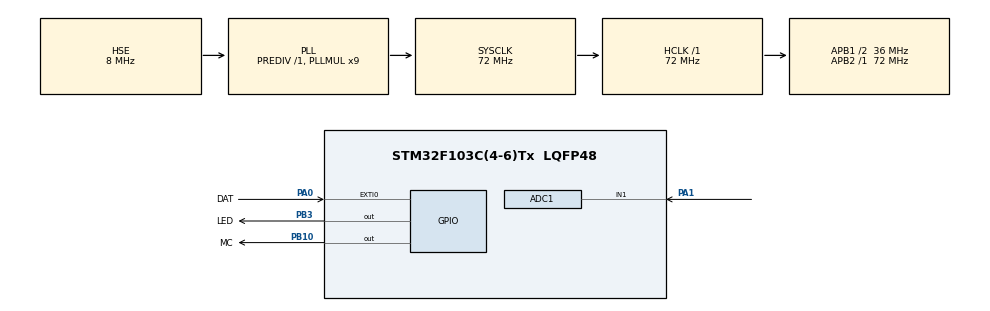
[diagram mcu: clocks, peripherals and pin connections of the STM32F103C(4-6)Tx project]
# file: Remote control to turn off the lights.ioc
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ADC1.Channel-1\#ChannelRegularConversion=ADC_CHANNEL_1
ADC1.EnableAnalogWatchDog=false
ADC1.NbrOfConversionFlag=1
ADC1.Rank-1\#ChannelRegularConversion=1
ADC1.SamplingTime-1\#ChannelRegularConversion=ADC_SAMPLETIME_1CYCLE_5
ADC1.master=1
Mcu.Family=STM32F1
Mcu.Name=STM32F103C(4-6)Tx
Mcu.Package=LQFP48
NVIC.EXTI0_IRQn=true\:0\:0\:false\:false\:true\:true\:true\:true
NVIC.PriorityGroup=NVIC_PRIORITYGROUP_4
NVIC.TIM1_UP_IRQn=true\:0\:0\:false\:false\:true\:true\:true\:true
NVIC.TIM2_IRQn=true\:4\:0\:true\:false\:true\:true\:true\:true
NVIC.TIM3_IRQn=true\:7\:0\:true\:false\:true\:true\:true\:true
PA0-WKUP.GPIO_Label=DAT
PA0-WKUP.GPIO_ModeDefaultEXTI=GPIO_MODE_IT_FALLING
PA0-WKUP.GPIO_PuPd=GPIO_PULLUP
PA0-WKUP.Signal=GPXTI0
PA1.Signal=SharedAnalog_PA1
PA13.Mode=Serial_Wire
PA13.Signal=SYS_JTMS-SWDIO
PA14.Mode=Serial_Wire
PA14.Signal=SYS_JTCK-SWCLK
PB10.GPIO_Label=MC
PB10.GPIO_ModeDefaultOutputPP=GPIO_MODE_OUTPUT_OD
PB10.GPIO_PuPd=GPIO_NOPULL
PB10.GPIO_Speed=GPIO_SPEED_FREQ_HIGH
PB10.PinState=GPIO_PIN_SET
PB10.Signal=GPIO_Output
PB3.GPIO_Label=LED
PB3.Signal=GPIO_Output
PD0-OSC_IN.Mode=HSE-External-Oscillator
PD0-OSC_IN.Signal=RCC_OSC_IN
PD1-OSC_OUT.Mode=HSE-External-Oscillator
PD1-OSC_OUT.Signal=RCC_OSC_OUT
ProjectManager.HeapSize=0x200
ProjectManager.StackSize=0x400
ProjectManager.TargetToolchain=MDK-ARM V5.32
RCC.ADCPresc=RCC_ADCPCLK2_DIV6
RCC.AHBFreq_Value=72000000
RCC.APB1CLKDivider=RCC_HCLK_DIV2
RCC.APB1Freq_Value=36000000
RCC.APB1TimFreq_Value=72000000
RCC.APB2Freq_Value=72000000
RCC.APB2TimFreq_Value=72000000
RCC.HCLKFreq_Value=72000000
RCC.PLLMUL=RCC_PLL_MUL9
RCC.PLLSourceVirtual=RCC_PLLSOURCE_HSE
RCC.SYSCLKFreq_VALUE=72000000
RCC.SYSCLKSource=RCC_SYSCLKSOURCE_PLLCLK
RCC.USBFreq_Value=72000000
SH.SharedAnalog_PA1.0=GPIO_Analog
SH.SharedAnalog_PA1.1=ADC1_IN1,IN1
TIM1.Prescaler=72-1
TIM2.Period=20
TIM2.Prescaler=72-1
TIM3.Period=10000
TIM3.Prescaler=7200-1
VP_TIM1_VS_ClockSourceINT.Mode=Internal
VP_TIM2_VS_ClockSourceINT.Mode=Internal
VP_TIM3_VS_ClockSourceINT.Mode=Internal
board=custom

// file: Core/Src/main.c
/* USER CODE BEGIN Header */
/**
 ******************************************************************************
 * @file           : main.c
 * @brief          : Main program body
 ******************************************************************************
 * @attention
 *
 * Copyright (c) 2022 STMicroelectronics.
 * All rights reserved.
 *
 * This software is licensed under terms that can be found in the LICENSE file
 * in the root directory of this software component.
 * If no LICENSE file comes with this software, it is provided AS-IS.
 *
 ******************************************************************************
 */
/* USER CODE END Header */
#include "main.h"

/* USER CODE BEGIN Includes */
#include "IR_NEC.h"
#include "Steering_Engine.h"
/* USER CODE END Includes */

ADC_HandleTypeDef hadc1;

TIM_HandleTypeDef htim1;
TIM_HandleTypeDef htim2;
TIM_HandleTypeDef htim3;

void SystemClock_Config(void);
static void MX_GPIO_Init(void);
static void MX_TIM3_Init(void);
static void MX_TIM1_Init(void);
static void MX_TIM2_Init(void);
static void MX_ADC1_Init(void);
/* USER CODE BEGIN PFP */
void enter_stop_mode(void);
void exit_stop_mode(void);
/* USER CODE END PFP */

/* USER CODE BEGIN 0 */
void OPEN()
{
  Steering_Engine_360(0, 30);
  HAL_Delay(400);
  Steering_Engine_360(1, 50);
  HAL_Delay(100);
  Steering_Engine_Stop();
  HAL_Delay(2000);
}
void CLOSE()
{
  Steering_Engine_360(1, 30);
  HAL_Delay(400);
  Steering_Engine_360(0, 50);
  HAL_Delay(180);
  Steering_Engine_Stop();
  HAL_Delay(2000);
}
u8 LED_Ctl = 0;
u8 STOP_Ctl = 0;
void INIT_LED()
{

  if (LED_Ctl % 2)
  {
    HAL_GPIO_WritePin(LED_GPIO_Port, LED_Pin, GPIO_PIN_RESET);
  }
  else
  {
    HAL_GPIO_WritePin(LED_GPIO_Port, LED_Pin, GPIO_PIN_SET);
  }
  LED_Ctl++;
}
uint8_t ADC_ins = 0;
void Voltage_detection()
{
  uint16_t V = 0;
  //寮?鍚疉DC1
  HAL_ADC_Start(&hadc1);
  //绛夊緟ADC杞?鎹㈠畬鎴愶紝瓒呮椂涓?100ms
  HAL_ADC_PollForConversion(&hadc1, 100);
  //鍒ゆ柇ADC鏄?鍚﹁浆鎹㈡垚鍔?
  if (HAL_IS_BIT_SET(HAL_ADC_GetState(&hadc1), HAL_ADC_STATE_REG_EOC))
  {
    //璇诲彇鍊?
    V = HAL_ADC_GetValue(&hadc1);
    if (V < 2600)
    {
      HAL_Delay(100);
      HAL_ADC_PollForConversion(&hadc1, 100);
      if (HAL_IS_BIT_SET(HAL_ADC_GetState(&hadc1), HAL_ADC_STATE_REG_EOC))
      {
        V = HAL_ADC_GetValue(&hadc1);
        if (V < 2600)
        {
          HAL_Delay(100);
          HAL_ADC_PollForConversion(&hadc1, 100);
          if (HAL_IS_BIT_SET(HAL_ADC_GetState(&hadc1), HAL_ADC_STATE_REG_EOC))
          {
            V = HAL_ADC_GetValue(&hadc1);
            if (V < 2600)
            {
              // LED_Ctl = 0;
              STOP_Ctl = 0;
              HAL_GPIO_WritePin(LED_GPIO_Port, LED_Pin, GPIO_PIN_SET);
            }
          }
        }
      }
    }
    else
    {
      HAL_GPIO_WritePin(LED_GPIO_Port, LED_Pin, GPIO_PIN_RESET);
    }
  }
  HAL_ADC_Stop(&hadc1);
}
void HAL_TIM_PeriodElapsedCallback(TIM_HandleTypeDef *htim)
{
  if (htim == &Steering_Engine_TIM)
  {
    Steering_Engine_Action();
  }
  else if (htim == &htim3)
  {
    if (LED_Ctl < 6)
    {
      INIT_LED();
    }
    else
    {
      STOP_Ctl++;
      Voltage_detection();
    }

    if (STOP_Ctl >= 6)
    {
      STOP_Ctl = 0;
      HAL_GPIO_WritePin(LED_GPIO_Port, LED_Pin, GPIO_PIN_RESET);
      enter_stop_mode();
      exit_stop_mode();
    }
    IR_NEC_Read_Dat[0] = 0;
    IR_NEC_Read_Dat[1] = 0;
    IR_NEC_Read_Dat[2] = 0;
    IR_NEC_Read_Dat[3] = 0;
  }
}
void enter_stop_mode(void)
{
  __HAL_PWR_CLEAR_FLAG(PWR_FLAG_WU);

  // 杩涘叆STOP妯″紡
  HAL_PWR_EnterSTOPMode(PWR_LOWPOWERREGULATOR_ON, PWR_STOPENTRY_WFI);
}
void exit_stop_mode(void)
{
  HAL_Init();
  SystemClock_Config();
  MX_GPIO_Init();
  MX_TIM3_Init();
  MX_TIM1_Init();
  MX_TIM2_Init();
  MX_ADC1_Init();
}
void HAL_GPIO_EXTI_Callback(uint16_t GPIO_Pin)
{
  if (GPIO_Pin == GPIO_PIN_0)
  {
    IR_NEC_Read_Decode(air);
    STOP_Ctl = 0;
    HAL_GPIO_WritePin(LED_GPIO_Port, LED_Pin, GPIO_PIN_SET);
  }
}
/* USER CODE END 0 */

int main(void)
{
  /* USER CODE BEGIN 1 */
  uint8_t a = 0;
  /* USER CODE END 1 */

  /* MCU Configuration--------------------------------------------------------*/

  /* Reset of all peripherals, Initializes the Flash interface and the Systick. */
  HAL_Init();

  /* Configure the system clock */
  SystemClock_Config();

  /* Initialize all configured peripherals */
  MX_GPIO_Init();
  MX_TIM3_Init();
  MX_TIM1_Init();
  MX_TIM2_Init();
  MX_ADC1_Init();
  /* USER CODE BEGIN 2 */
  HAL_GPIO_WritePin(LED_GPIO_Port, LED_Pin, GPIO_PIN_SET);
  /* USER CODE END 2 */

  /* Infinite loop */
  while (1)
  {

    /* USER CODE BEGIN 3 */
    if (IR_NEC_Read_OK)
    {
      IR_NEC_Read_OK = 0;
      if (IR_NEC_Read_Dat[0] == 0x4D && IR_NEC_Read_Dat[1] == 0xB2 && IR_NEC_Read_Dat[2] == 0xA3 && IR_NEC_Read_Dat[3] == 0x5C)
      {
        OPEN();
      }
      else if (IR_NEC_Read_Dat[0] == 0x4D && IR_NEC_Read_Dat[1] == 0xB2 && IR_NEC_Read_Dat[2] == 0x59 && IR_NEC_Read_Dat[3] == 0xA6)
      {
        CLOSE();
      }

      if (IR_NEC_Read_Dat[0] == 0x84 && IR_NEC_Read_Dat[1] == 0xff && IR_NEC_Read_Dat[2] == 0x81 && IR_NEC_Read_Dat[3] == 0x7e)
      {
        OPEN();
      }
      else if (IR_NEC_Read_Dat[0] == 0x84 && IR_NEC_Read_Dat[1] == 0xff && IR_NEC_Read_Dat[2] == 0x01 && IR_NEC_Read_Dat[3] == 0xfe)
      {
        CLOSE();
      }
      a++;
      IR_NEC_Read_OK = 0;
    }
    if (a >= 20)
    {
      a = 0;
      __set_FAULTMASK(1); // STM32??????
      NVIC_SystemReset();
    }
  }

  /* USER CODE END 3 */
}

void SystemClock_Config(void)
{
  RCC_OscInitTypeDef RCC_OscInitStruct = {0};
  RCC_ClkInitTypeDef RCC_ClkInitStruct = {0};
  RCC_PeriphCLKInitTypeDef PeriphClkInit = {0};

  /** Initializes the RCC Oscillators according to the specified parameters
   * in the RCC_OscInitTypeDef structure.
   */
  RCC_OscInitStruct.OscillatorType = RCC_OSCILLATORTYPE_HSE;
  RCC_OscInitStruct.HSEState = RCC_HSE_ON;
  RCC_OscInitStruct.HSEPredivValue = RCC_HSE_PREDIV_DIV1;
  RCC_OscInitStruct.HSIState = RCC_HSI_ON;
  RCC_OscInitStruct.PLL.PLLState = RCC_PLL_ON;
  RCC_OscInitStruct.PLL.PLLSource = RCC_PLLSOURCE_HSE;
  RCC_OscInitStruct.PLL.PLLMUL = RCC_PLL_MUL9;
  if (HAL_RCC_OscConfig(&RCC_OscInitStruct) != HAL_OK)
  {
    Error_Handler();
  }

  /** Initializes the CPU, AHB and APB buses clocks
   */
  RCC_ClkInitStruct.ClockType = RCC_CLOCKTYPE_HCLK | RCC_CLOCKTYPE_SYSCLK | RCC_CLOCKTYPE_PCLK1 | RCC_CLOCKTYPE_PCLK2;
  RCC_ClkInitStruct.SYSCLKSource = RCC_SYSCLKSOURCE_PLLCLK;
  RCC_ClkInitStruct.AHBCLKDivider = RCC_SYSCLK_DIV1;
  RCC_ClkInitStruct.APB1CLKDivider = RCC_HCLK_DIV2;
  RCC_ClkInitStruct.APB2CLKDivider = RCC_HCLK_DIV1;

  if (HAL_RCC_ClockConfig(&RCC_ClkInitStruct, FLASH_LATENCY_2) != HAL_OK)
  {
    Error_Handler();
  }
  PeriphClkInit.PeriphClockSelection = RCC_PERIPHCLK_ADC;
  PeriphClkInit.AdcClockSelection = RCC_ADCPCLK2_DIV6;
  if (HAL_RCCEx_PeriphCLKConfig(&PeriphClkInit) != HAL_OK)
  {
    Error_Handler();
  }
}

static void MX_ADC1_Init(void)
{

  ADC_ChannelConfTypeDef sConfig = {0};

  /** Common config
   */
  hadc1.Instance = ADC1;
  hadc1.Init.ScanConvMode = ADC_SCAN_DISABLE;
  hadc1.Init.ContinuousConvMode = DISABLE;
  hadc1.Init.DiscontinuousConvMode = DISABLE;
  hadc1.Init.ExternalTrigConv = ADC_SOFTWARE_START;
  hadc1.Init.DataAlign = ADC_DATAALIGN_RIGHT;
  hadc1.Init.NbrOfConversion = 1;
  if (HAL_ADC_Init(&hadc1) != HAL_OK)
  {
    Error_Handler();
  }

  /** Configure Regular Channel
   */
  sConfig.Channel = ADC_CHANNEL_1;
  sConfig.Rank = ADC_REGULAR_RANK_1;
  sConfig.SamplingTime = ADC_SAMPLETIME_1CYCLE_5;
  if (HAL_ADC_ConfigChannel(&hadc1, &sConfig) != HAL_OK)
  {
    Error_Handler();
  }
}

static void MX_TIM1_Init(void)
{

  TIM_ClockConfigTypeDef sClockSourceConfig = {0};
  TIM_MasterConfigTypeDef sMasterConfig = {0};

  htim1.Instance = TIM1;
  htim1.Init.Prescaler = 72 - 1;
  htim1.Init.CounterMode = TIM_COUNTERMODE_UP;
  htim1.Init.Period = 65535;
  htim1.Init.ClockDivision = TIM_CLOCKDIVISION_DIV1;
  htim1.Init.RepetitionCounter = 0;
  htim1.Init.AutoReloadPreload = TIM_AUTORELOAD_PRELOAD_DISABLE;
  if (HAL_TIM_Base_Init(&htim1) != HAL_OK)
  {
    Error_Handler();
  }
  sClockSourceConfig.ClockSource = TIM_CLOCKSOURCE_INTERNAL;
  if (HAL_TIM_ConfigClockSource(&htim1, &sClockSourceConfig) != HAL_OK)
  {
    Error_Handler();
  }
  sMasterConfig.MasterOutputTrigger = TIM_TRGO_RESET;
  sMasterConfig.MasterSlaveMode = TIM_MASTERSLAVEMODE_DISABLE;
  if (HAL_TIMEx_MasterConfigSynchronization(&htim1, &sMasterConfig) != HAL_OK)
  {
    Error_Handler();
  }
}

static void MX_TIM2_Init(void)
{

  TIM_ClockConfigTypeDef sClockSourceConfig = {0};
  TIM_MasterConfigTypeDef sMasterConfig = {0};

  htim2.Instance = TIM2;
  htim2.Init.Prescaler = 72 - 1;
  htim2.Init.CounterMode = TIM_COUNTERMODE_UP;
  htim2.Init.Period = 20;
  htim2.Init.ClockDivision = TIM_CLOCKDIVISION_DIV1;
  htim2.Init.AutoReloadPreload = TIM_AUTORELOAD_PRELOAD_DISABLE;
  if (HAL_TIM_Base_Init(&htim2) != HAL_OK)
  {
    Error_Handler();
  }
  sClockSourceConfig.ClockSource = TIM_CLOCKSOURCE_INTERNAL;
  if (HAL_TIM_ConfigClockSource(&htim2, &sClockSourceConfig) != HAL_OK)
  {
    Error_Handler();
  }
  sMasterConfig.MasterOutputTrigger = TIM_TRGO_RESET;
  sMasterConfig.MasterSlaveMode = TIM_MASTERSLAVEMODE_DISABLE;
  if (HAL_TIMEx_MasterConfigSynchronization(&htim2, &sMasterConfig) != HAL_OK)
  {
    Error_Handler();
  }
  /* USER CODE BEGIN TIM2_Init 2 */
  HAL_TIM_Base_Start_IT(&htim2);
  /* USER CODE END TIM2_Init 2 */
}

static void MX_TIM3_Init(void)
{

  TIM_ClockConfigTypeDef sClockSourceConfig = {0};
  TIM_MasterConfigTypeDef sMasterConfig = {0};

  htim3.Instance = TIM3;
  htim3.Init.Prescaler = 7200 - 1;
  htim3.Init.CounterMode = TIM_COUNTERMODE_UP;
  htim3.Init.Period = 10000;
  htim3.Init.ClockDivision = TIM_CLOCKDIVISION_DIV1;
  htim3.Init.AutoReloadPreload = TIM_AUTORELOAD_PRELOAD_DISABLE;
  if (HAL_TIM_Base_Init(&htim3) != HAL_OK)
  {
    Error_Handler();
  }
  sClockSourceConfig.ClockSource = TIM_CLOCKSOURCE_INTERNAL;
  if (HAL_TIM_ConfigClockSource(&htim3, &sClockSourceConfig) != HAL_OK)
  {
    Error_Handler();
  }
  sMasterConfig.MasterOutputTrigger = TIM_TRGO_RESET;
  sMasterConfig.MasterSlaveMode = TIM_MASTERSLAVEMODE_DISABLE;
  if (HAL_TIMEx_MasterConfigSynchronization(&htim3, &sMasterConfig) != HAL_OK)
  {
    Error_Handler();
  }
  /* USER CODE BEGIN TIM3_Init 2 */
  HAL_TIM_Base_Start_IT(&htim3);
  /* USER CODE END TIM3_Init 2 */
}

static void MX_GPIO_Init(void)
{
  GPIO_InitTypeDef GPIO_InitStruct = {0};

  /* GPIO Ports Clock Enable */
  __HAL_RCC_GPIOC_CLK_ENABLE();
  __HAL_RCC_GPIOD_CLK_ENABLE();
  __HAL_RCC_GPIOA_CLK_ENABLE();
  __HAL_RCC_GPIOB_CLK_ENABLE();

  /*Configure GPIO pin Output Level */
  HAL_GPIO_WritePin(MC_GPIO_Port, MC_Pin, GPIO_PIN_SET);

  /*Configure GPIO pin Output Level */
  HAL_GPIO_WritePin(LED_GPIO_Port, LED_Pin, GPIO_PIN_RESET);

  /*Configure GPIO pins : PC13 PC14 PC15 */
  GPIO_InitStruct.Pin = GPIO_PIN_13 | GPIO_PIN_14 | GPIO_PIN_15;
  GPIO_InitStruct.Mode = GPIO_MODE_ANALOG;
  HAL_GPIO_Init(GPIOC, &GPIO_InitStruct);

  /*Configure GPIO pin : DAT_Pin */
  GPIO_InitStruct.Pin = DAT_Pin;
  GPIO_InitStruct.Mode = GPIO_MODE_IT_FALLING;
  GPIO_InitStruct.Pull = GPIO_PULLUP;
  HAL_GPIO_Init(DAT_GPIO_Port, &GPIO_InitStruct);

  /*Configure GPIO pins : PA2 PA3 PA4 PA5
                           PA6 PA7 PA8 PA9
                           PA10 PA11 PA12 PA15 */
  GPIO_InitStruct.Pin = GPIO_PIN_2 | GPIO_PIN_3 | GPIO_PIN_4 | GPIO_PIN_5 | GPIO_PIN_6 | GPIO_PIN_7 | GPIO_PIN_8 | GPIO_PIN_9 | GPIO_PIN_10 | GPIO_PIN_11 | GPIO_PIN_12 | GPIO_PIN_15;
  GPIO_InitStruct.Mode = GPIO_MODE_ANALOG;
  HAL_GPIO_Init(GPIOA, &GPIO_InitStruct);

  /*Configure GPIO pins : PB0 PB1 PB2 PB11
                           PB12 PB13 PB14 PB15
                           PB4 PB5 PB6 PB7
                           PB8 PB9 */
  GPIO_InitStruct.Pin = GPIO_PIN_0 | GPIO_PIN_1 | GPIO_PIN_2 | GPIO_PIN_11 | GPIO_PIN_12 | GPIO_PIN_13 | GPIO_PIN_14 | GPIO_PIN_15 | GPIO_PIN_4 | GPIO_PIN_5 | GPIO_PIN_6 | GPIO_PIN_7 | GPIO_PIN_8 | GPIO_PIN_9;
  GPIO_InitStruct.Mode = GPIO_MODE_ANALOG;
  HAL_GPIO_Init(GPIOB, &GPIO_InitStruct);

  /*Configure GPIO pin : MC_Pin */
  GPIO_InitStruct.Pin = MC_Pin;
  GPIO_InitStruct.Mode = GPIO_MODE_OUTPUT_OD;
  GPIO_InitStruct.Pull = GPIO_NOPULL;
  GPIO_InitStruct.Speed = GPIO_SPEED_FREQ_HIGH;
  HAL_GPIO_Init(MC_GPIO_Port, &GPIO_InitStruct);

  /*Configure GPIO pin : LED_Pin */
  GPIO_InitStruct.Pin = LED_Pin;
  GPIO_InitStruct.Mode = GPIO_MODE_OUTPUT_PP;
  GPIO_InitStruct.Pull = GPIO_NOPULL;
  GPIO_InitStruct.Speed = GPIO_SPEED_FREQ_LOW;
  HAL_GPIO_Init(LED_GPIO_Port, &GPIO_InitStruct);

  /* EXTI interrupt init*/
  HAL_NVIC_SetPriority(EXTI0_IRQn, 0, 0);
  HAL_NVIC_EnableIRQ(EXTI0_IRQn);
}

void Error_Handler(void)
{
  __disable_irq();
  while (1)
  {
  }
}
